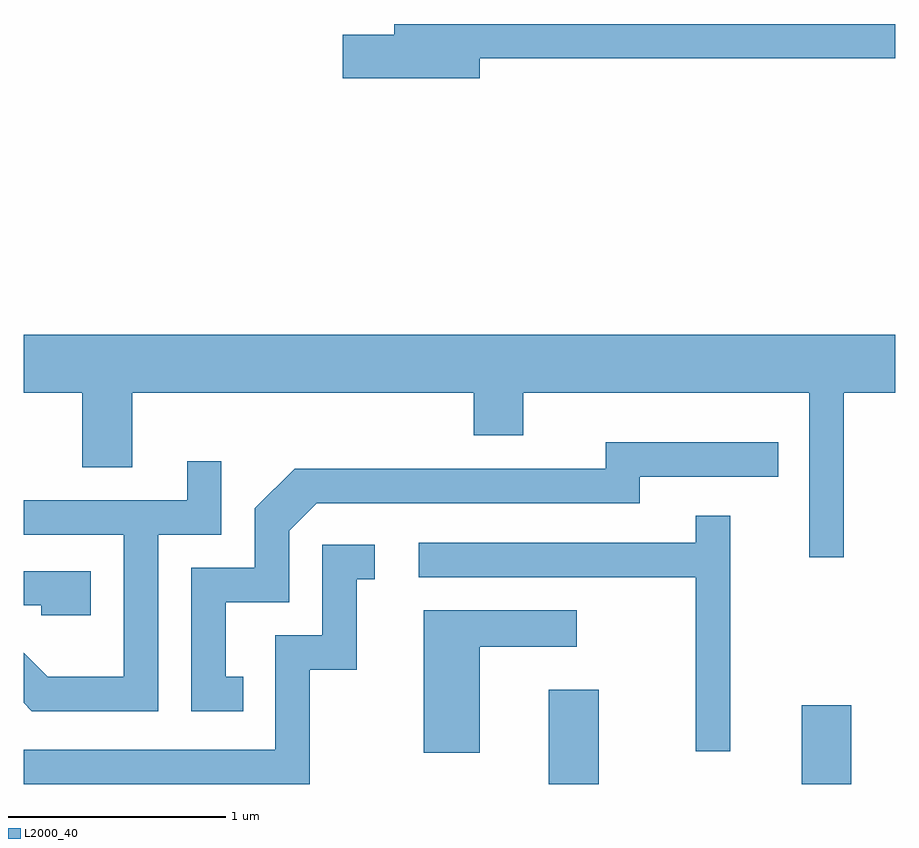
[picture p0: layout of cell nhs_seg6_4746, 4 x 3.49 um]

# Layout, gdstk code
import gdstk
lib = gdstk.Library(unit=1e-6, precision=1e-09)
def R(c, l, rs):  # rectangles x0, y0, x1, y1
    for r in rs: c.add(gdstk.rectangle(r[:2], r[2:], *l))
def P(c, l, *ps):  # polygons
    for p in ps: c.add(gdstk.Polygon(p, *l))
L2000_40 = (2000, 40)

nhs_seg6_4746 = lib.new_cell('nhs_seg6_4746')
R(nhs_seg6_4746, L2000_40, [(332.021,1628.162,332.249,1628.594), (333.181,1628.162,333.409,1628.524)])
P(nhs_seg6_4746, L2000_40, [(331.704,1631.491),(333.611,1631.491),(333.611,1631.649),(331.311,1631.649),(331.311,1631.599),(331.076,1631.599),(331.076,1631.401),(331.704,1631.401)],
  [(333.374,1629.956),(333.611,1629.956),(333.611,1630.224),(329.611,1630.224),(329.611,1629.956),(329.881,1629.956),(329.881,1629.616),(330.109,1629.616),(330.109,1629.956),(331.676,1629.956),(331.676,1629.761),(331.904,1629.761),(331.904,1629.956),(333.216,1629.956),(333.216,1629.203),(333.374,1629.203)],
  [(330.618,1628.654),(330.539,1628.654),(330.539,1628.996),(330.829,1628.996),(330.829,1629.324),(330.957,1629.451),(332.439,1629.451),(332.439,1629.571),(333.073,1629.571),(333.073,1629.729),(332.281,1629.729),(332.281,1629.609),(330.854,1629.609),(330.671,1629.427),(330.671,1629.154),(330.381,1629.154),(330.381,1628.496),(330.618,1628.496)],
  [(330.229,1629.306),(330.519,1629.306),(330.519,1629.643),(330.361,1629.643),(330.361,1629.464),(329.611,1629.464),(329.611,1629.306),(330.071,1629.306),(330.071,1628.654),(329.722,1628.654),(329.611,1628.765),(329.611,1628.534),(329.649,1628.496),(330.229,1628.496)],
  [(332.854,1629.393),(332.696,1629.393),(332.696,1629.269),(331.423,1629.269),(331.423,1629.111),(332.696,1629.111),(332.696,1628.313),(332.854,1628.313)],
  [(330.924,1628.686),(331.139,1628.686),(331.139,1629.101),(331.223,1629.101),(331.223,1629.259),(330.981,1629.259),(330.981,1628.844),(330.766,1628.844),(330.766,1628.319),(329.611,1628.319),(329.611,1628.162),(330.924,1628.162)],
  [(329.919,1629.139),(329.611,1629.139),(329.611,1628.981),(329.691,1628.981),(329.691,1628.936),(329.919,1628.936)],
  [(331.704,1628.791),(332.148,1628.791),(332.148,1628.959),(331.446,1628.959),(331.446,1628.306),(331.704,1628.306)])

lib.write_gds('nhs_seg6_4746.gds')
